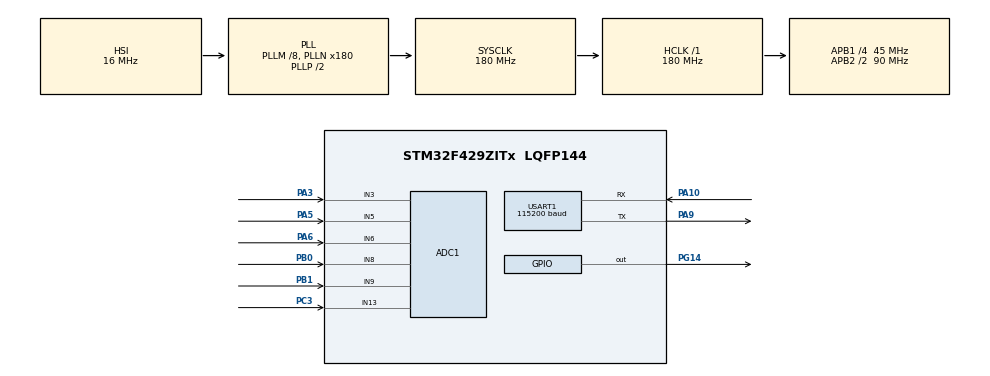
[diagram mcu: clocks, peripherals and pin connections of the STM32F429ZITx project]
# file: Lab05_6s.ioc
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ADC1.Channel-0\#ChannelRegularConversion=ADC_CHANNEL_13
ADC1.Channel-1\#ChannelRegularConversion=ADC_CHANNEL_3
ADC1.Channel-2\#ChannelRegularConversion=ADC_CHANNEL_5
ADC1.Channel-3\#ChannelRegularConversion=ADC_CHANNEL_9
ADC1.Channel-4\#ChannelRegularConversion=ADC_CHANNEL_6
ADC1.Channel-5\#ChannelRegularConversion=ADC_CHANNEL_8
ADC1.ClockPrescaler=ADC_CLOCK_SYNC_PCLK_DIV8
ADC1.ContinuousConvMode=ENABLE
ADC1.DMAContinuousRequests=ENABLE
ADC1.EOCSelection=ADC_EOC_SINGLE_CONV
ADC1.NbrOfConversion=6
ADC1.NbrOfConversionFlag=1
ADC1.Rank-0\#ChannelRegularConversion=1
ADC1.Rank-1\#ChannelRegularConversion=2
ADC1.Rank-2\#ChannelRegularConversion=3
ADC1.Rank-3\#ChannelRegularConversion=4
ADC1.Rank-4\#ChannelRegularConversion=5
ADC1.Rank-5\#ChannelRegularConversion=6
ADC1.SamplingTime-0\#ChannelRegularConversion=ADC_SAMPLETIME_480CYCLES
ADC1.SamplingTime-1\#ChannelRegularConversion=ADC_SAMPLETIME_480CYCLES
ADC1.SamplingTime-2\#ChannelRegularConversion=ADC_SAMPLETIME_480CYCLES
ADC1.SamplingTime-3\#ChannelRegularConversion=ADC_SAMPLETIME_480CYCLES
ADC1.SamplingTime-4\#ChannelRegularConversion=ADC_SAMPLETIME_480CYCLES
ADC1.SamplingTime-5\#ChannelRegularConversion=ADC_SAMPLETIME_480CYCLES
ADC1.ScanConvMode=ENABLE
ADC1.master=1
Dma.ADC1.0.Direction=DMA_PERIPH_TO_MEMORY
Dma.ADC1.0.FIFOMode=DMA_FIFOMODE_ENABLE
Dma.ADC1.0.FIFOThreshold=DMA_FIFO_THRESHOLD_FULL
Dma.ADC1.0.Instance=DMA2_Stream0
Dma.ADC1.0.MemBurst=DMA_MBURST_SINGLE
Dma.ADC1.0.MemDataAlignment=DMA_MDATAALIGN_WORD
Dma.ADC1.0.MemInc=DMA_MINC_ENABLE
Dma.ADC1.0.Mode=DMA_CIRCULAR
Dma.ADC1.0.PeriphBurst=DMA_PBURST_SINGLE
Dma.ADC1.0.PeriphDataAlignment=DMA_PDATAALIGN_WORD
Dma.ADC1.0.PeriphInc=DMA_PINC_DISABLE
Dma.ADC1.0.Priority=DMA_PRIORITY_LOW
Dma.Request0=ADC1
Mcu.Family=STM32F4
Mcu.Name=STM32F429ZITx
Mcu.Package=LQFP144
NVIC.DMA2_Stream0_IRQn=true\:1\:0\:true\:false\:true\:false\:true
NVIC.PriorityGroup=NVIC_PRIORITYGROUP_2
PA10.Mode=Asynchronous
PA10.Signal=USART1_RX
PA3.Signal=ADCx_IN3
PA5.Signal=ADCx_IN5
PA6.Signal=ADCx_IN6
PA9.Mode=Asynchronous
PA9.Signal=USART1_TX
PB0.Signal=ADCx_IN8
PB1.Signal=ADCx_IN9
PC3.Signal=ADCx_IN13
PG14.Signal=GPIO_Output
ProjectManager.HeapSize=0x200
ProjectManager.StackSize=0x400
ProjectManager.TargetToolchain=STM32CubeIDE
RCC.48MHZClocksFreq_Value=90000000
RCC.AHBFreq_Value=180000000
RCC.APB1CLKDivider=RCC_HCLK_DIV4
RCC.APB1Freq_Value=45000000
RCC.APB1TimFreq_Value=90000000
RCC.APB2CLKDivider=RCC_HCLK_DIV2
RCC.APB2Freq_Value=90000000
RCC.APB2TimFreq_Value=180000000
RCC.CortexFreq_Value=180000000
RCC.HCLKFreq_Value=180000000
RCC.HSE_VALUE=25000000
RCC.HSI_VALUE=16000000
RCC.LSE_VALUE=32768
RCC.PLLM=8
RCC.PLLN=180
RCC.SYSCLKFreq_VALUE=180000000
RCC.SYSCLKSource=RCC_SYSCLKSOURCE_PLLCLK
RCC.VCOOutputFreq_Value=360000000
SH.ADCx_IN13.0=ADC1_IN13,IN13
SH.ADCx_IN3.0=ADC1_IN3,IN3
SH.ADCx_IN5.0=ADC1_IN5,IN5
SH.ADCx_IN6.0=ADC1_IN6,IN6
SH.ADCx_IN8.0=ADC1_IN8,IN8
SH.ADCx_IN9.0=ADC1_IN9,IN9
USART1.BaudRate=115200
USART1.VirtualMode=VM_ASYNC
board=custom

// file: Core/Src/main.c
/* USER CODE BEGIN Header */
/**
  ******************************************************************************
  * @file           : main.c
  * @brief          : Main program body
  ******************************************************************************
  * @attention
  *
  * <h2><center>&copy; Copyright (c) 2021 STMicroelectronics.
  * All rights reserved.</center></h2>
  *
  * This software component is licensed by ST under BSD 3-Clause license,
  * the "License"; You may not use this file except in compliance with the
  * License. You may obtain a copy of the License at:
  *                        opensource.org/licenses/BSD-3-Clause
  *
  ******************************************************************************
  */
/* USER CODE END Header */
#include "main.h"
#include "adc.h"
#include "dma.h"
#include "usart.h"
#include "gpio.h"

/* USER CODE BEGIN Includes */
#include <string.h>
#include <stdio.h>
/* USER CODE END Includes */

/* USER CODE BEGIN PV */
volatile uint32_t raw_adc_buffer[6]; // 6 == Number of Channels
/* USER CODE END PV */

void SystemClock_Config(void);

/* USER CODE BEGIN 0 */
float get_v_display(uint32_t raw_in){
	return ((float)raw_in*3.3)/4095;
}

void display_out(uint32_t x[]){
	char output[50];
	char vout[50];
	sprintf(output,"0x%08X ",x[0]);
	sprintf(vout,"%.2f V",get_v_display(x[0]));
	HAL_UART_Transmit(&huart1, (uint8_t *) "ADC1_CH13", strlen("ADC1_CH13"), 100);
	HAL_UART_Transmit(&huart1, (uint8_t *) " ", strlen(" "), 100);
	HAL_UART_Transmit(&huart1, (uint8_t *) output, strlen(output), 100);
	HAL_UART_Transmit(&huart1, (uint8_t *) "Vin = ", strlen("Vin = "), 100);
	HAL_UART_Transmit(&huart1, (uint8_t *) vout, strlen(vout), 100);
	HAL_UART_Transmit(&huart1, (uint8_t *) " | ", strlen(" | "), 100);

	sprintf(output,"0x%08X ",x[1]);
	sprintf(vout,"%.2f V",get_v_display(x[1]));
	HAL_UART_Transmit(&huart1, (uint8_t *) "ADC1_CH3", strlen("ADC1_CH3"), 100);
	HAL_UART_Transmit(&huart1, (uint8_t *) " ", strlen(" "), 100);
	HAL_UART_Transmit(&huart1, (uint8_t *) output, strlen(output), 100);
	HAL_UART_Transmit(&huart1, (uint8_t *) "Vin = ", strlen("Vin = "), 100);
	HAL_UART_Transmit(&huart1, (uint8_t *) vout, strlen(vout), 100);
	HAL_UART_Transmit(&huart1, (uint8_t *) " | ", strlen(" | "), 100);

	sprintf(output,"0x%08X ",x[2]);
	sprintf(vout,"%.2f V",get_v_display(x[2]));
	HAL_UART_Transmit(&huart1, (uint8_t *) "ADC1_CH5", strlen("ADC1_CH5"), 100);
	HAL_UART_Transmit(&huart1, (uint8_t *) " ", strlen(" "), 100);
	HAL_UART_Transmit(&huart1, (uint8_t *) output, strlen(output), 100);
	HAL_UART_Transmit(&huart1, (uint8_t *) "Vin = ", strlen("Vin = "), 100);
	HAL_UART_Transmit(&huart1, (uint8_t *) vout, strlen(vout), 100);
	HAL_UART_Transmit(&huart1, (uint8_t *) " | ", strlen(" | "), 100);

	sprintf(output,"0x%08X ",x[3]);
	sprintf(vout,"%.2f V",get_v_display(x[3]));
	HAL_UART_Transmit(&huart1, (uint8_t *) "ADC1_CH6", strlen("ADC1_CH6"), 100);
	HAL_UART_Transmit(&huart1, (uint8_t *) " ", strlen(" "), 100);
	HAL_UART_Transmit(&huart1, (uint8_t *) output, strlen(output), 100);
	HAL_UART_Transmit(&huart1, (uint8_t *) "Vin = ", strlen("Vin = "), 100);
	HAL_UART_Transmit(&huart1, (uint8_t *) vout, strlen(vout), 100);
	HAL_UART_Transmit(&huart1, (uint8_t *) " | ", strlen(" | "), 100);

	sprintf(output,"0x%08X ",x[4]);
	sprintf(vout,"%.2f V",get_v_display(x[4]));
	HAL_UART_Transmit(&huart1, (uint8_t *) "ADC1_CH8", strlen("ADC1_CH8"), 100);
	HAL_UART_Transmit(&huart1, (uint8_t *) " ", strlen(" "), 100);
	HAL_UART_Transmit(&huart1, (uint8_t *) output, strlen(output), 100);
	HAL_UART_Transmit(&huart1, (uint8_t *) "Vin = ", strlen("Vin = "), 100);
	HAL_UART_Transmit(&huart1, (uint8_t *) vout, strlen(vout), 100);
	HAL_UART_Transmit(&huart1, (uint8_t *) " | ", strlen(" | "), 100);

	sprintf(output,"0x%08X ",x[5]);
	sprintf(vout,"%.2f V",get_v_display(x[5]));
	HAL_UART_Transmit(&huart1, (uint8_t *) "ADC1_CH9", strlen("ADC1_CH9"), 100);
	HAL_UART_Transmit(&huart1, (uint8_t *) " ", strlen(" "), 100);
	HAL_UART_Transmit(&huart1, (uint8_t *) output, strlen(output), 100);
	HAL_UART_Transmit(&huart1, (uint8_t *) "Vin = ", strlen("Vin = "), 100);
	HAL_UART_Transmit(&huart1, (uint8_t *) vout, strlen(vout), 100);

	HAL_UART_Transmit(&huart1, (uint8_t *)"\r\n", strlen("\r\n"), 100);
	HAL_Delay(1);
}
/* USER CODE END 0 */

int main(void)
{

  /* MCU Configuration--------------------------------------------------------*/

  /* Reset of all peripherals, Initializes the Flash interface and the Systick. */
  HAL_Init();

  /* Configure the system clock */
  SystemClock_Config();

  /* Initialize all configured peripherals */
  MX_GPIO_Init();
  MX_DMA_Init();
  MX_ADC1_Init();
  MX_USART1_UART_Init();
  /* USER CODE BEGIN 2 */
  HAL_ADC_Start_DMA(&hadc1,(uint32_t*)&raw_adc_buffer,6);
  HAL_GPIO_WritePin(GPIOG,GPIO_PIN_14,0);
  /* USER CODE END 2 */

  /* Infinite loop */
  while (1)
  {

  }
}

void SystemClock_Config(void)
{
  RCC_OscInitTypeDef RCC_OscInitStruct = {0};
  RCC_ClkInitTypeDef RCC_ClkInitStruct = {0};

  /** Configure the main internal regulator output voltage
  */
  __HAL_RCC_PWR_CLK_ENABLE();
  __HAL_PWR_VOLTAGESCALING_CONFIG(PWR_REGULATOR_VOLTAGE_SCALE1);
  /** Initializes the RCC Oscillators according to the specified parameters
  * in the RCC_OscInitTypeDef structure.
  */
  RCC_OscInitStruct.OscillatorType = RCC_OSCILLATORTYPE_HSI;
  RCC_OscInitStruct.HSIState = RCC_HSI_ON;
  RCC_OscInitStruct.HSICalibrationValue = RCC_HSICALIBRATION_DEFAULT;
  RCC_OscInitStruct.PLL.PLLState = RCC_PLL_ON;
  RCC_OscInitStruct.PLL.PLLSource = RCC_PLLSOURCE_HSI;
  RCC_OscInitStruct.PLL.PLLM = 8;
  RCC_OscInitStruct.PLL.PLLN = 180;
  RCC_OscInitStruct.PLL.PLLP = RCC_PLLP_DIV2;
  RCC_OscInitStruct.PLL.PLLQ = 4;
  if (HAL_RCC_OscConfig(&RCC_OscInitStruct) != HAL_OK)
  {
    Error_Handler();
  }
  /** Activate the Over-Drive mode
  */
  if (HAL_PWREx_EnableOverDrive() != HAL_OK)
  {
    Error_Handler();
  }
  /** Initializes the CPU, AHB and APB buses clocks
  */
  RCC_ClkInitStruct.ClockType = RCC_CLOCKTYPE_HCLK|RCC_CLOCKTYPE_SYSCLK
                              |RCC_CLOCKTYPE_PCLK1|RCC_CLOCKTYPE_PCLK2;
  RCC_ClkInitStruct.SYSCLKSource = RCC_SYSCLKSOURCE_PLLCLK;
  RCC_ClkInitStruct.AHBCLKDivider = RCC_SYSCLK_DIV1;
  RCC_ClkInitStruct.APB1CLKDivider = RCC_HCLK_DIV4;
  RCC_ClkInitStruct.APB2CLKDivider = RCC_HCLK_DIV2;

  if (HAL_RCC_ClockConfig(&RCC_ClkInitStruct, FLASH_LATENCY_5) != HAL_OK)
  {
    Error_Handler();
  }
}

/* USER CODE BEGIN 4 */
void HAL_ADC_ConvHalfCpltCallback(ADC_HandleTypeDef* hadc){
	HAL_GPIO_WritePin(GPIOG,GPIO_PIN_14,1);
	display_out(raw_adc_buffer);
	HAL_Delay(500);
}

void HAL_ADC_ConvCpltCallback(ADC_HandleTypeDef* hadc){
	HAL_GPIO_WritePin(GPIOG,GPIO_PIN_14,0);
	HAL_Delay(500);
}
/* USER CODE END 4 */

void Error_Handler(void)
{
  __disable_irq();
  while (1)
  {
  }
}

/************************ (C) COPYRIGHT STMicroelectronics *****END OF FILE****/
